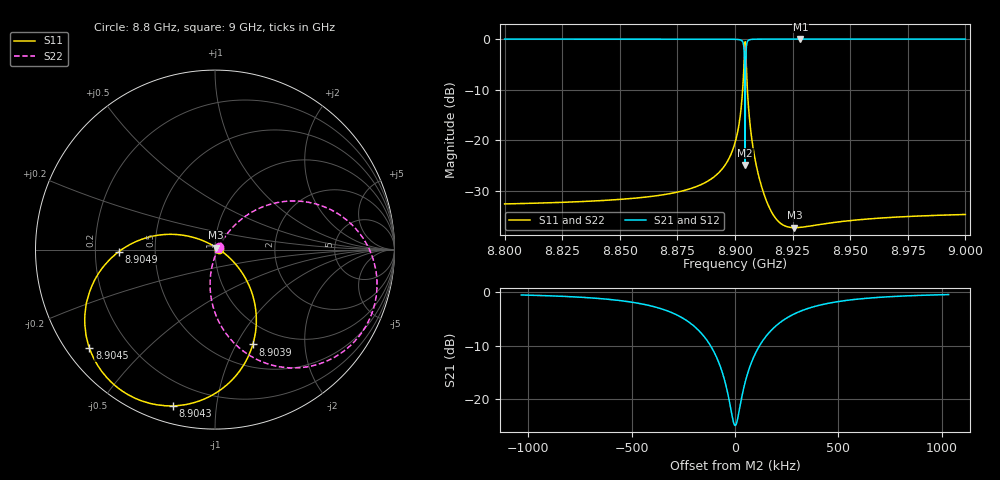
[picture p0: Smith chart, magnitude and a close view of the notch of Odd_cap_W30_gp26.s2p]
! Sonnet Data File
! From: emgraph Version : 16.52
! From Project: Resonator2_cp
! Data is De-embedded
! Data File Written: 10/07/2017 13:01:14
!< HDATE 10/07/2017 09:22:27
!< MDATE 10/07/2017 09:22:27
!< PARAMS
!< gap = 26.0
!< Length = 400.0
!< Pwid1 = 2000.0
!< Pwid2 = 2000.0
!< Air_gap = 18.0
!< Width = 30.0
!< END PARAMS
# GHZ S MA R 43.07000
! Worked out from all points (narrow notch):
!   1595 points, 8.8 GHz to 9 GHz, reference 43.07 ohm
!   highest |S21| = 0.00 dB at 8.9284 GHz (marker M1); lowest = -24.9 dB at 8.9044 GHz (marker M2)
!   notch at M2: 24.9 dB deep, 173 kHz wide at half that depth
!   lowest |S11| = -37.3 dB at 8.9258 GHz (marker M3), VSWR 1.03, Z = 43.7 + j1.01 ohm
!   |S11| at or under -10 dB: start of sweep to 8.9033 GHz; 8.9054 GHz to end of sweep
!   |S22| runs from -37.3 to -0.5 dB; largest |S21 - S12| = 0
!   S11 on the Smith chart (normalised r, x): 8.8 GHz: 1.05, +0.00; 8.9039 GHz: 0.75, -1.17; 8.9043 GHz: 0.08, -0.76; 8.9045 GHz: 0.07, -0.34; 8.9049 GHz: 0.30, -0.01; 9 GHz: 1.04, +0.01
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8.8  0.0234 3.1  0.9997 -73.4  0.9997 -73.4  0.0234 30.1
!< P1 F=8.8 Eeff=(5.15948137 -2.2525e-5) Z0=(43.0696006 9.54461e-5) R=0.0 C=0.0
!< P2 F=8.8 Eeff=(5.15948137 -2.2525e-5) Z0=(43.0696006 9.54461e-5) R=0.0 C=0.0
8.8334  0.02469 0.6  0.9997 -73.8  0.9997 -73.8  0.02469 31.9
8.8668  0.02838 -4.7  0.9996 -74.3  0.9996 -74.3  0.02839 36.1
8.8898  0.04151 -15.3  0.9991 -75.3  0.9991 -75.3  0.04153 44.6
8.9  0.0941 -29.6  0.9952 -78.5  0.9952 -78.5  0.09421 52.2
8.902788  0.2224 -42.4  0.9723 -86.0  0.9723 -86.0  0.2227 49.1
8.903905  0.5688 -68.2  0.7992 -107.8  0.7992 -107.8  0.5697 27.9
8.904141  0.7748 -86.9  0.5727 -123.8  0.5727 -123.8  0.776 10.2
8.904284  0.9018 -105.1  0.2971 -135.8  0.2971 -135.8  0.9033 -7.3
8.904395  0.9424 -122.3  0.05679 -74.3  0.05679 -74.3  0.944 -24.0
8.904522  0.8889 -141.9  0.3349 -11.8  0.3349 -11.8  0.8904 -43.0
8.904689  0.7281 -162.3  0.6351 -26.6  0.6351 -26.6  0.7293 -62.7
8.904908  0.5351 -178.8  0.8228 -40.8  0.8228 -40.8  0.536 -78.1
8.90562  0.2537 160.4  0.9627 -58.5  0.9627 -58.5  0.2542 -95.4
8.907221  0.1052 146.7  0.9936 -67.2  0.9936 -67.2  0.1055 -100.2
8.9118  0.03318 125.3  0.9993 -71.5  0.9993 -71.5  0.03328 -87.9
8.918  0.01647 92.4  0.9998 -72.8  0.9998 -72.8  0.01653 -57.7
8.9258  0.01363 57.9  0.9999 -73.4  0.9999 -73.4  0.01366 -24.6
8.9284  0.01373 50.6  0.9999 -73.5  0.9999 -73.5  0.01375 -17.5
8.9334  0.01423 40.5  0.9999 -73.7  0.9999 -73.7  0.01425 -7.8
8.9668  0.01717 19.1  0.9998 -74.3  0.9998 -74.3  0.01717 12.2
9  0.01841 14.0  0.9998 -74.7  0.9998 -74.7  0.01841 16.7
